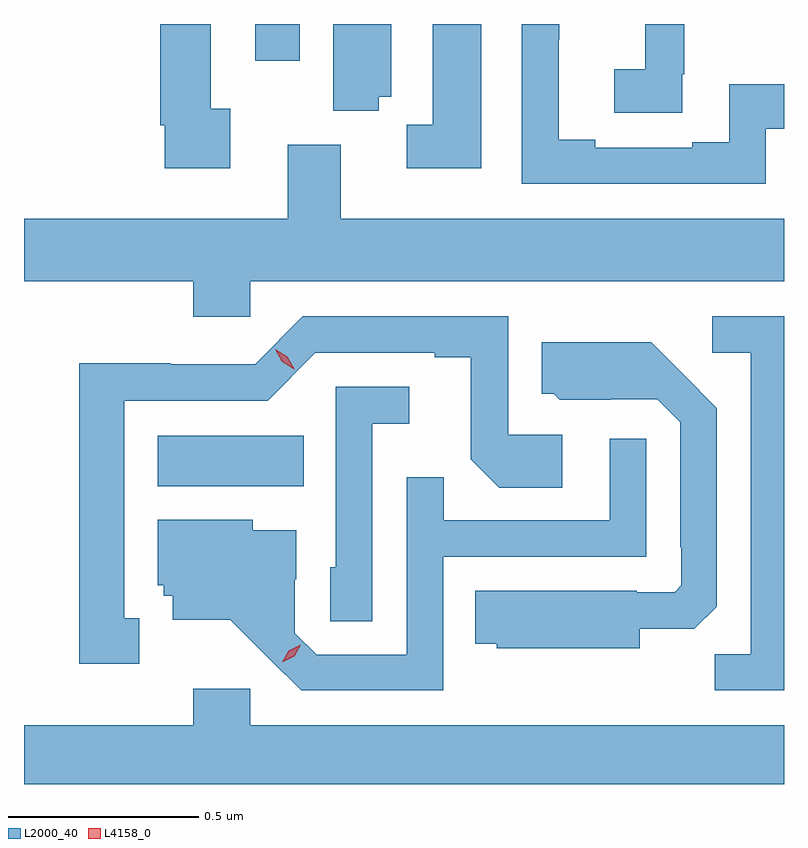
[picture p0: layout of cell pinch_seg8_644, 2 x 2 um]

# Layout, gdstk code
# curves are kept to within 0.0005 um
import gdstk
lib = gdstk.Library(unit=1e-6, precision=1e-09)
def R(c, l, rs):  # rectangles x0, y0, x1, y1
    for r in rs: c.add(gdstk.rectangle(r[:2], r[2:], *l))
def P(c, l, *ps):  # polygons
    for p in ps: c.add(gdstk.Polygon(p, *l))
L2000_40 = (2000, 40)
L4158_0 = (4158, 0)

pinch_seg8_644 = lib.new_cell('pinch_seg8_644')
R(pinch_seg8_644, L2000_40, [(198.2,1087.988,198.584,1088.122), (198.456,1089.108,198.573,1089.205)])
P(pinch_seg8_644, L2000_40, [(198.391,1088.982),(198.34,1088.982),(198.34,1089.205),(198.206,1089.205),(198.206,1088.938),(198.218,1088.938),(198.218,1088.826),(198.391,1088.826)],
  [(198.782,1089.014),(198.814,1089.014),(198.814,1089.205),(198.662,1089.205),(198.662,1088.977),(198.782,1088.977)],
  [(199.8,1088.93),(199.848,1088.93),(199.848,1089.047),(199.704,1089.047),(199.704,1088.894),(199.607,1088.894),(199.607,1088.88),(199.351,1088.88),(199.351,1088.9),(199.255,1088.9),(199.255,1089.163),(199.257,1089.163),(199.257,1089.205),(199.158,1089.205),(199.158,1088.784),(199.8,1088.784)],
  [(199.051,1089.205),(198.923,1089.205),(198.923,1088.94),(198.855,1088.94),(198.855,1088.825),(199.051,1088.825)],
  [(199.58,1089.073),(199.586,1089.073),(199.586,1089.205),(199.483,1089.205),(199.483,1089.086),(199.401,1089.086),(199.401,1088.971),(199.58,1088.971)],
  [(198.444,1088.528),(199.848,1088.528),(199.848,1088.692),(198.682,1088.692),(198.682,1088.887),(198.542,1088.887),(198.542,1088.692),(197.848,1088.692),(197.848,1088.528),(198.293,1088.528),(198.293,1088.435),(198.444,1088.435)],
  [(199.848,1088.436),(199.659,1088.436),(199.659,1088.34),(199.761,1088.34),(199.761,1087.547),(199.666,1087.547),(199.666,1087.452),(199.848,1087.452)],
  [(198.151,1087.641),(198.112,1087.641),(198.112,1088.214),(198.489,1088.214),(198.615,1088.34),(198.929,1088.34),(198.929,1088.328),(199.023,1088.328),(199.023,1088.06),(199.099,1087.984),(199.264,1087.984),(199.264,1088.124),(199.122,1088.124),(199.122,1088.436),(198.582,1088.436),(198.456,1088.31),(198.234,1088.31),(198.234,1088.312),(197.994,1088.312),(197.994,1087.521),(198.151,1087.521)],
  [(199.468,1087.613),(199.612,1087.613),(199.671,1087.672),(199.671,1088.194),(199.499,1088.368),(199.211,1088.368),(199.211,1088.232),(199.242,1088.232),(199.258,1088.216),(199.392,1088.216),(199.392,1088.217),(199.515,1088.217),(199.575,1088.157),(199.575,1087.828),(199.578,1087.828),(199.578,1087.728),(199.56,1087.71),(199.46,1087.71),(199.46,1087.714),(199.036,1087.714),(199.036,1087.574),(199.092,1087.574),(199.092,1087.562),(199.468,1087.562)],
  [(198.765,1088.153),(198.862,1088.153),(198.862,1088.25),(198.669,1088.25),(198.669,1087.776),(198.654,1087.776),(198.654,1087.633),(198.765,1087.633)],
  [(198.951,1087.803),(199.485,1087.803),(199.485,1088.113),(199.389,1088.113),(199.389,1087.899),(198.953,1087.899),(198.953,1088.012),(198.855,1088.012),(198.855,1087.545),(198.618,1087.545),(198.561,1087.602),(198.561,1087.744),(198.565,1087.744),(198.565,1087.873),(198.45,1087.873),(198.45,1087.9),(198.2,1087.9),(198.2,1087.728),(198.216,1087.728),(198.216,1087.701),(198.239,1087.701),(198.239,1087.637),(198.391,1087.637),(198.578,1087.452),(198.951,1087.452)],
  [(199.848,1087.36),(198.444,1087.36),(198.444,1087.456),(198.293,1087.456),(198.293,1087.36),(197.848,1087.36),(197.848,1087.205),(199.848,1087.205)])
P(pinch_seg8_644, L4158_0, [(198.528,1087.525),(198.528,1087.526),(198.545,1087.556),(198.576,1087.571),(198.576,1087.571),(198.576,1087.571),(198.559,1087.541),(198.528,1087.525)],
  [(198.559,1088.297),(198.527,1088.316),(198.509,1088.349),(198.509,1088.349),(198.509,1088.349),(198.541,1088.33),(198.559,1088.298),(198.559,1088.297)])

lib.write_gds('pinch_seg8_644.gds')
